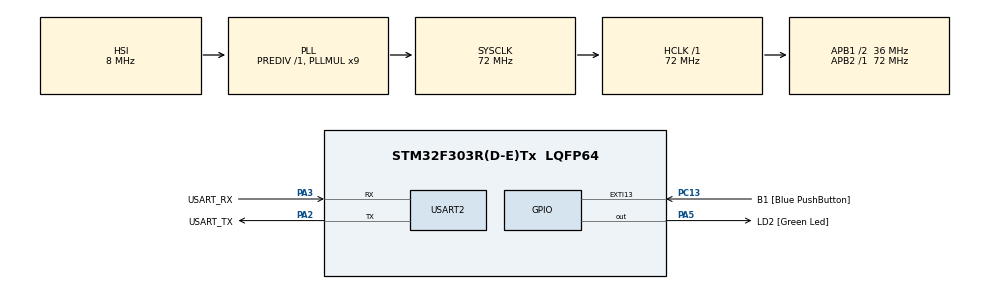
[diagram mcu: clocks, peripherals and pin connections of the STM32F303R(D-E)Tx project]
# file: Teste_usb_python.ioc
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Mcu.Family=STM32F3
Mcu.Name=STM32F303R(D-E)Tx
Mcu.Package=LQFP64
NVIC.PriorityGroup=NVIC_PRIORITYGROUP_0
PA13.GPIO_Label=TMS
PA13.Mode=Serial_Wire
PA13.Signal=SYS_JTMS-SWDIO
PA14.GPIO_Label=TCK
PA14.Mode=Serial_Wire
PA14.Signal=SYS_JTCK-SWCLK
PA2.GPIO_Label=USART_TX
PA2.GPIO_Mode=GPIO_MODE_AF_PP
PA2.GPIO_PuPd=GPIO_NOPULL
PA2.GPIO_Speed=GPIO_SPEED_FREQ_LOW
PA2.Mode=Asynchronous
PA2.Signal=USART2_TX
PA3.GPIO_Label=USART_RX
PA3.GPIO_Mode=GPIO_MODE_AF_PP
PA3.GPIO_PuPd=GPIO_NOPULL
PA3.GPIO_Speed=GPIO_SPEED_FREQ_LOW
PA3.Mode=Asynchronous
PA3.Signal=USART2_RX
PA5.GPIO_Label=LD2 [Green Led]
PA5.GPIO_Mode=GPIO_MODE_OUTPUT_PP
PA5.GPIO_PuPd=GPIO_NOPULL
PA5.GPIO_Speed=GPIO_SPEED_FREQ_LOW
PA5.Signal=GPIO_Output
PB3.GPIO_Label=SWO
PB3.Signal=SYS_JTDO-TRACESWO
PC13.GPIO_Label=B1 [Blue PushButton]
PC13.GPIO_ModeDefaultEXTI=GPIO_MODE_IT_FALLING
PC13.Signal=GPXTI13
PC14-OSC32_IN.Mode=LSE-External-Oscillator
PC14-OSC32_IN.Signal=RCC_OSC32_IN
PC15-OSC32_OUT.Mode=LSE-External-Oscillator
PC15-OSC32_OUT.Signal=RCC_OSC32_OUT
PF0-OSC_IN.Mode=HSE-External-Clock-Source
PF0-OSC_IN.Signal=RCC_OSC_IN
PF1-OSC_OUT.Signal=RCC_OSC_OUT
ProjectManager.HeapSize=0x200
ProjectManager.StackSize=0x400
ProjectManager.TargetToolchain=STM32CubeIDE
RCC.AHBFreq_Value=72000000
RCC.APB1CLKDivider=RCC_HCLK_DIV2
RCC.APB1Freq_Value=36000000
RCC.APB1TimFreq_Value=72000000
RCC.APB2Freq_Value=72000000
RCC.APB2TimFreq_Value=72000000
RCC.CortexFreq_Value=72000000
RCC.HCLKFreq_Value=72000000
RCC.HSE_VALUE=8000000
RCC.HSI_VALUE=8000000
RCC.PLLM=8
RCC.PLLMUL=RCC_PLL_MUL9
RCC.PLLN=336
RCC.PLLP=RCC_PLLP_DIV4
RCC.PLLQ=7
RCC.RCC_PLLsource_Clock_Source_FROM_HSE=RCC_HSE_PREDIV_DIV2
RCC.SYSCLKFreq_VALUE=72000000
RCC.SYSCLKSourceVirtual=RCC_SYSCLKSOURCE_PLLCLK
RCC.USBFreq_Value=72000000
USART2.VirtualMode-Asynchronous=VM_ASYNC
board=NUCLEO-F303RE

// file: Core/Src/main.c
/* USER CODE BEGIN Header */
/**
  ******************************************************************************
  * @file           : main.c
  * @brief          : Main program body
  ******************************************************************************
  * @attention
  *
  * Copyright (c) 2024 STMicroelectronics.
  * All rights reserved.
  *
  * This software is licensed under terms that can be found in the LICENSE file
  * in the root directory of this software component.
  * If no LICENSE file comes with this software, it is provided AS-IS.
  *
  ******************************************************************************
  */
/* USER CODE END Header */
#include "main.h"

/* USER CODE BEGIN Includes */
#include <string.h>
#include <stdlib.h>
#include <stdio.h>
/* USER CODE END Includes */

/* USER CODE BEGIN PD */
#define BUFFER_MAX_SIZE 10
/* USER CODE END PD */

UART_HandleTypeDef huart2;

void SystemClock_Config(void);
static void MX_GPIO_Init(void);
static void MX_USART2_UART_Init(void);
/* USER CODE BEGIN PFP */
void insertNewValueToBuffer(uint32_t * circular_buffer, uint32_t new_input_value);
/* USER CODE END PFP */

int main(void)
{
  /* USER CODE BEGIN 1 */
	unsigned char rxDataBuffer[50] = " ";
	unsigned char txDataBuffer[100] = " ";
	unsigned int circularBuffer[10];
  /* USER CODE END 1 */

  /* MCU Configuration--------------------------------------------------------*/

  /* Reset of all peripherals, Initializes the Flash interface and the Systick. */
  HAL_Init();

  /* Configure the system clock */
  SystemClock_Config();

  /* Initialize all configured peripherals */
  MX_GPIO_Init();
  MX_USART2_UART_Init();
  /* USER CODE BEGIN 2 */
  unsigned int random_value = 0;
  memset(circularBuffer,0,sizeof(circularBuffer));

  /* USER CODE END 2 */

  /* Infinite loop */
  while (1)
  {

  	HAL_UART_Receive(&huart2, rxDataBuffer, sizeof(rxDataBuffer), 100);
  	if (memcmp(rxDataBuffer,"wake up",sizeof("wake up")) == 0){
  		memset(rxDataBuffer, 0, sizeof(rxDataBuffer));
  		random_value = (int)random() % 0xffff;
  		insertNewValueToBuffer((void *)circularBuffer, random_value);
  		sprintf((void *)txDataBuffer, "%d",random_value);
  		HAL_UART_Transmit(&huart2, txDataBuffer, strlen((void *)txDataBuffer), 1000);
  	}else{
  		memset(rxDataBuffer,0,sizeof(rxDataBuffer));
  	}

  }
}

void SystemClock_Config(void)
{
  RCC_OscInitTypeDef RCC_OscInitStruct = {0};
  RCC_ClkInitTypeDef RCC_ClkInitStruct = {0};
  RCC_PeriphCLKInitTypeDef PeriphClkInit = {0};

  /** Initializes the RCC Oscillators according to the specified parameters
  * in the RCC_OscInitTypeDef structure.
  */
  RCC_OscInitStruct.OscillatorType = RCC_OSCILLATORTYPE_HSI;
  RCC_OscInitStruct.HSIState = RCC_HSI_ON;
  RCC_OscInitStruct.HSICalibrationValue = RCC_HSICALIBRATION_DEFAULT;
  RCC_OscInitStruct.PLL.PLLState = RCC_PLL_ON;
  RCC_OscInitStruct.PLL.PLLSource = RCC_PLLSOURCE_HSI;
  RCC_OscInitStruct.PLL.PLLMUL = RCC_PLL_MUL9;
  RCC_OscInitStruct.PLL.PREDIV = RCC_PREDIV_DIV1;
  if (HAL_RCC_OscConfig(&RCC_OscInitStruct) != HAL_OK)
  {
    Error_Handler();
  }
  /** Initializes the CPU, AHB and APB buses clocks
  */
  RCC_ClkInitStruct.ClockType = RCC_CLOCKTYPE_HCLK|RCC_CLOCKTYPE_SYSCLK
                              |RCC_CLOCKTYPE_PCLK1|RCC_CLOCKTYPE_PCLK2;
  RCC_ClkInitStruct.SYSCLKSource = RCC_SYSCLKSOURCE_PLLCLK;
  RCC_ClkInitStruct.AHBCLKDivider = RCC_SYSCLK_DIV1;
  RCC_ClkInitStruct.APB1CLKDivider = RCC_HCLK_DIV2;
  RCC_ClkInitStruct.APB2CLKDivider = RCC_HCLK_DIV1;

  if (HAL_RCC_ClockConfig(&RCC_ClkInitStruct, FLASH_LATENCY_2) != HAL_OK)
  {
    Error_Handler();
  }
  PeriphClkInit.PeriphClockSelection = RCC_PERIPHCLK_USART2;
  PeriphClkInit.Usart2ClockSelection = RCC_USART2CLKSOURCE_PCLK1;
  if (HAL_RCCEx_PeriphCLKConfig(&PeriphClkInit) != HAL_OK)
  {
    Error_Handler();
  }
}

static void MX_USART2_UART_Init(void)
{

  huart2.Instance = USART2;
  huart2.Init.BaudRate = 38400;
  huart2.Init.WordLength = UART_WORDLENGTH_8B;
  huart2.Init.StopBits = UART_STOPBITS_1;
  huart2.Init.Parity = UART_PARITY_NONE;
  huart2.Init.Mode = UART_MODE_TX_RX;
  huart2.Init.HwFlowCtl = UART_HWCONTROL_NONE;
  huart2.Init.OverSampling = UART_OVERSAMPLING_16;
  huart2.Init.OneBitSampling = UART_ONE_BIT_SAMPLE_DISABLE;
  huart2.AdvancedInit.AdvFeatureInit = UART_ADVFEATURE_NO_INIT;
  if (HAL_UART_Init(&huart2) != HAL_OK)
  {
    Error_Handler();
  }

}

static void MX_GPIO_Init(void)
{
  GPIO_InitTypeDef GPIO_InitStruct = {0};

  /* GPIO Ports Clock Enable */
  __HAL_RCC_GPIOC_CLK_ENABLE();
  __HAL_RCC_GPIOF_CLK_ENABLE();
  __HAL_RCC_GPIOA_CLK_ENABLE();
  __HAL_RCC_GPIOB_CLK_ENABLE();

  /*Configure GPIO pin Output Level */
  HAL_GPIO_WritePin(LD2_GPIO_Port, LD2_Pin, GPIO_PIN_RESET);

  /*Configure GPIO pin : B1_Pin */
  GPIO_InitStruct.Pin = B1_Pin;
  GPIO_InitStruct.Mode = GPIO_MODE_IT_FALLING;
  GPIO_InitStruct.Pull = GPIO_NOPULL;
  HAL_GPIO_Init(B1_GPIO_Port, &GPIO_InitStruct);

  /*Configure GPIO pin : LD2_Pin */
  GPIO_InitStruct.Pin = LD2_Pin;
  GPIO_InitStruct.Mode = GPIO_MODE_OUTPUT_PP;
  GPIO_InitStruct.Pull = GPIO_NOPULL;
  GPIO_InitStruct.Speed = GPIO_SPEED_FREQ_LOW;
  HAL_GPIO_Init(LD2_GPIO_Port, &GPIO_InitStruct);

}

/* USER CODE BEGIN 4 */
void insertNewValueToBuffer(uint32_t * circular_buffer, uint32_t new_input_value){
	// MAX SIZE = 10
	static char buffer_size = 0;

	if(buffer_size == BUFFER_MAX_SIZE){
		buffer_size = 0;
	}
	*(circular_buffer + buffer_size) = new_input_value;
	buffer_size ++;

}

/* USER CODE END 4 */

void Error_Handler(void)
{
  __disable_irq();
  while (1)
  {
  }
}
